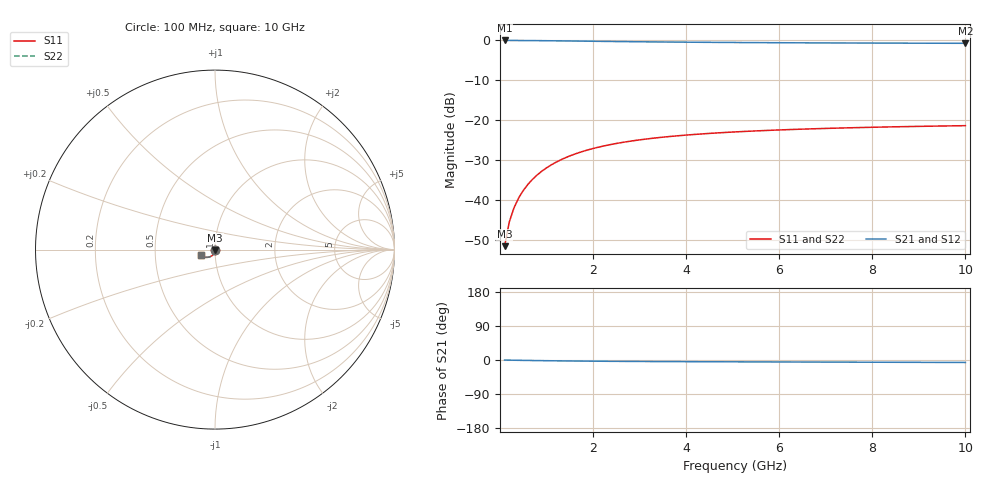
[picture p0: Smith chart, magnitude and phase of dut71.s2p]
! Touchstone file exported from HFSS 2024.1.0
!  File:  C:/UserFiles/LocalFiles/RDL_TSV_Batchsim/temp_TSV1_71_1778750257.aedt
!  Generated:  05:23:05 PM May 14, 2026
!  Design:  TSV1
!  Project:  temp_TSV1_71_1778750257
!  Setup:  Setup1
!  Solution:  Sweep
! Variables:
!  dtsv = 16.61um
!  hbump = 3um
!  htsv = 98.34um
!  lrdl = 252.1521522um
!  p = 40
!  p1 = 52.83um
!  t = 500um
!  trdl = 3um
!  wrdl = 24.89489489um
# GHz S MA R 50.000000
! Terminal data exported
! Port[1] = TSV22_T1
! Port[2] = TSV22_T2
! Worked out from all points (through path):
!   100 points, 100 MHz to 10 GHz, reference 50 ohm
!   highest |S21| = 0.00 dB at 100 MHz (marker M1); lowest = -0.7 dB at 10 GHz (marker M2)
!   lowest |S11| = -51.4 dB at 100 MHz (marker M3), VSWR 1.01, Z = 50 - j0.268 ohm
!   |S11| at or under -10 dB: start of sweep to end of sweep
!   |S22| runs from -51.4 to -21.3 dB; largest |S21 - S12| = 1.2e-14
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0.1  0.002678 -90.1  0.9998 -0.2  0.9998 -0.2  0.002678 -90.1
! Gamma 0 0 0 0
! Port Impedance 50 0 50 0
0.2  0.005361 -92.6  0.9995 -0.4  0.9995 -0.4  0.005361 -92.6
0.3  0.008034 -94.8  0.9991 -0.6  0.9991 -0.6  0.008034 -94.8
0.4  0.01068 -96.8  0.9985 -0.8  0.9985 -0.8  0.01068 -96.8
0.5  0.01329 -98.7  0.9977 -1.0  0.9977 -1.0  0.01329 -98.7
0.6  0.01585 -100.6  0.9968 -1.2  0.9968 -1.2  0.01585 -100.6
0.7  0.01836 -102.4  0.9958 -1.3  0.9958 -1.3  0.01836 -102.4
0.8  0.02081 -104.2  0.9947 -1.5  0.9947 -1.5  0.02081 -104.2
0.9  0.0232 -106.0  0.9935 -1.7  0.9935 -1.7  0.0232 -106.0
1.1  0.02775 -109.3  0.9908 -2.0  0.9908 -2.0  0.02775 -109.3
1.4  0.03403 -113.9  0.9863 -2.4  0.9863 -2.4  0.03403 -113.9
1.6  0.03783 -116.8  0.9832 -2.7  0.9832 -2.7  0.03783 -116.8
1.8  0.04134 -119.4  0.98 -2.9  0.98 -2.9  0.04134 -119.4
2.1  0.04607 -123.1  0.9754 -3.2  0.9754 -3.2  0.04607 -123.1
2.5  0.0515 -127.4  0.9694 -3.5  0.9694 -3.5  0.0515 -127.4
2.9  0.0561 -131.1  0.964 -3.8  0.964 -3.8  0.0561 -131.1
3.4  0.06089 -135.0  0.9579 -4.1  0.9579 -4.1  0.06089 -135.0
4.2  0.06693 -140.2  0.9498 -4.5  0.9498 -4.5  0.06693 -140.2
5.1  0.07207 -144.7  0.9425 -4.8  0.9425 -4.8  0.07207 -144.7
6.7  0.0785 -150.6  0.933 -5.4  0.933 -5.4  0.0785 -150.6
8.4  0.08303 -155.2  0.926 -6.0  0.926 -6.0  0.08303 -155.2
10  0.086 -158.4  0.9214 -6.5  0.9214 -6.5  0.086 -158.4
